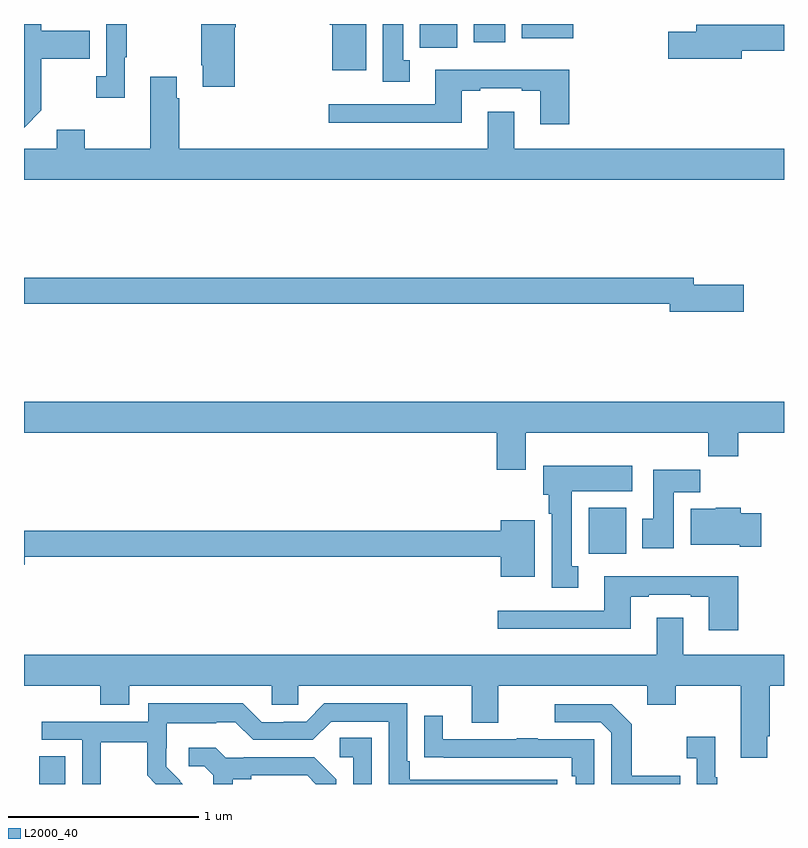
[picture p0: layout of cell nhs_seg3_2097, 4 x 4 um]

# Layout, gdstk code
import gdstk
lib = gdstk.Library(unit=1e-6, precision=1e-09)
def R(c, l, rs):  # rectangles x0, y0, x1, y1
    for r in rs: c.add(gdstk.rectangle(r[:2], r[2:], *l))
def P(c, l, *ps):  # polygons
    for p in ps: c.add(gdstk.Polygon(p, *l))
L2000_40 = (2000, 40)

nhs_seg3_2097 = lib.new_cell('nhs_seg3_2097')
R(nhs_seg3_2097, L2000_40, [(219.079,700.4,219.217,700.547), (221.972,701.612,222.169,701.854), (221.084,704.276,221.281,704.4), (221.366,704.304,221.533,704.4), (221.621,704.324,221.89,704.4)])
P(nhs_seg3_2097, L2000_40, [(219.091,703.945),(219.091,704.218),(219.347,704.218),(219.347,704.365),(219.091,704.365),(219.091,704.4),(219,704.4),(219,703.854)],
  [(220.109,704.382),(220.114,704.382),(220.114,704.4),(219.934,704.4),(219.934,704.182),(219.941,704.182),(219.941,704.07),(220.109,704.07)],
  [(219.529,704.225),(219.541,704.225),(219.541,704.4),(219.432,704.4),(219.432,704.126),(219.381,704.126),(219.381,704.013),(219.529,704.013)],
  [(220.801,704.4),(220.61,704.4),(220.61,704.396),(220.622,704.396),(220.622,704.156),(220.801,704.156)],
  [(221.029,704.21),(220.996,704.21),(220.996,704.4),(220.889,704.4),(220.889,704.097),(221.029,704.097)],
  [(222.778,704.26),(223,704.26),(223,704.396),(222.539,704.396),(222.539,704.36),(222.39,704.36),(222.39,704.218),(222.778,704.218)],
  [(221.87,704.158),(221.165,704.158),(221.165,703.977),(220.605,703.977),(220.605,703.88),(221.305,703.88),(221.305,704.049),(221.401,704.049),(221.401,704.061),(221.621,704.061),(221.621,704.049),(221.717,704.049),(221.717,703.872),(221.87,703.872)],
  [(223,703.744),(221.581,703.744),(221.581,703.939),(221.441,703.939),(221.441,703.744),(219.818,703.744),(219.818,704.009),(219.805,704.009),(219.805,704.122),(219.665,704.122),(219.665,703.744),(219.321,703.744),(219.321,703.843),(219.173,703.843),(219.173,703.744),(219,703.744),(219,703.58),(223,703.58)],
  [(222.787,703.028),(222.526,703.028),(222.526,703.064),(219,703.064),(219,702.928),(222.398,702.928),(222.398,702.886),(222.787,702.886)],
  [(221.641,702.248),(222.601,702.248),(222.601,702.124),(222.758,702.124),(222.758,702.248),(223,702.248),(223,702.412),(219,702.412),(219,702.248),(221.489,702.248),(221.489,702.054),(221.641,702.054)],
  [(221.917,701.546),(221.884,701.546),(221.884,701.942),(222.202,701.942),(222.202,702.076),(221.732,702.076),(221.732,701.922),(221.762,701.922),(221.762,701.822),(221.777,701.822),(221.777,701.433),(221.917,701.433)],
  [(222.421,701.936),(222.56,701.936),(222.56,702.055),(222.311,702.055),(222.311,701.796),(222.254,701.796),(222.254,701.64),(222.421,701.64)],
  [(222.88,701.826),(222.773,701.826),(222.773,701.854),(222.642,701.854),(222.642,701.848),(222.509,701.848),(222.509,701.66),(222.767,701.66),(222.767,701.648),(222.88,701.648)],
  [(221.689,701.788),(221.51,701.788),(221.51,701.732),(219,701.732),(219,701.554),(219.004,701.554),(219.004,701.596),(221.51,701.596),(221.51,701.492),(221.689,701.492)],
  [(222.758,701.494),(222.053,701.494),(222.053,701.313),(221.493,701.313),(221.493,701.216),(222.193,701.216),(222.193,701.385),(222.289,701.385),(222.289,701.397),(222.509,701.397),(222.509,701.385),(222.605,701.385),(222.605,701.208),(222.758,701.208)],
  [(222.913,700.651),(222.926,700.651),(222.926,700.916),(223,700.916),(223,701.08),(222.469,701.08),(222.469,701.275),(222.329,701.275),(222.329,701.08),(219,701.08),(219,700.916),(219.401,700.916),(219.401,700.817),(219.553,700.817),(219.553,700.916),(220.305,700.916),(220.305,700.818),(220.443,700.818),(220.443,700.916),(221.357,700.916),(221.357,700.722),(221.497,700.722),(221.497,700.916),(222.281,700.916),(222.281,700.817),(222.429,700.817),(222.429,700.916),(222.773,700.916),(222.773,700.539),(222.913,700.539)],
  [(219.405,700.62),(219.649,700.62),(219.649,700.445),(219.694,700.4),(219.836,700.4),(219.821,700.415),(219.822,700.416),(219.748,700.49),(219.748,700.587),(219.75,700.587),(219.75,700.721),(220.013,700.721),(220.013,700.725),(220.113,700.725),(220.206,700.632),(220.521,700.632),(220.617,700.728),(220.92,700.728),(220.92,700.4),(221.806,700.4),(221.806,700.422),(221.029,700.422),(221.029,700.519),(221.016,700.519),(221.016,700.824),(220.581,700.824),(220.485,700.728),(220.367,700.728),(220.367,700.725),(220.251,700.725),(220.151,700.825),(219.654,700.825),(219.654,700.728),(219.093,700.728),(219.093,700.632),(219.306,700.632),(219.306,700.4),(219.405,700.4)],
  [(222.455,700.443),(222.199,700.443),(222.199,700.715),(222.093,700.821),(221.793,700.821),(221.793,700.725),(222.036,700.725),(222.09,700.671),(222.09,700.4),(222.455,700.4)],
  [(222,700.635),(221.705,700.635),(221.705,700.64),(221.593,700.64),(221.593,700.635),(221.203,700.635),(221.203,700.759),(221.107,700.759),(221.107,700.54),(221.209,700.54),(221.209,700.539),(221.884,700.539),(221.884,700.442),(221.904,700.442),(221.904,700.4),(222,700.4)],
  [(222.649,700.435),(222.637,700.435),(222.637,700.648),(222.489,700.648),(222.489,700.535),(222.54,700.535),(222.54,700.4),(222.649,700.4)],
  [(220.83,700.643),(220.662,700.643),(220.662,700.542),(220.734,700.542),(220.734,700.4),(220.83,700.4)],
  [(220.099,700.424),(220.195,700.424),(220.195,700.446),(220.49,700.446),(220.536,700.4),(220.644,700.4),(220.644,700.426),(220.528,700.542),(220.156,700.542),(220.156,700.539),(220.062,700.539),(220.01,700.591),(219.867,700.591),(219.867,700.494),(219.948,700.494),(219.995,700.447),(219.995,700.4),(220.099,700.4)])

lib.write_gds('nhs_seg3_2097.gds')
